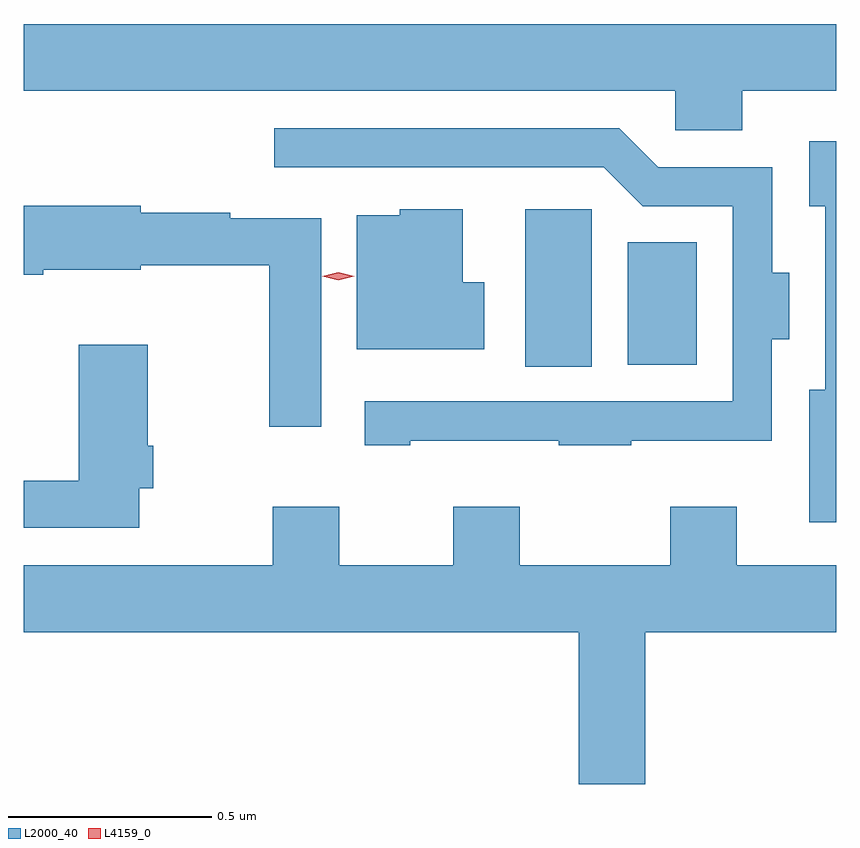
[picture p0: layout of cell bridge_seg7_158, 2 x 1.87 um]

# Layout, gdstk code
import gdstk
lib = gdstk.Library(unit=1e-6, precision=1e-09)
def R(c, l, rs):  # rectangles x0, y0, x1, y1
    for r in rs: c.add(gdstk.rectangle(r[:2], r[2:], *l))
def P(c, l, *ps):  # polygons
    for p in ps: c.add(gdstk.Polygon(p, *l))
L2000_40 = (2000, 40)
L4159_0 = (4159, 0)

bridge_seg7_158 = lib.new_cell('bridge_seg7_158')
R(bridge_seg7_158, L2000_40, [(584.456,1042.561,584.62,1042.948), (584.708,1042.565,584.878,1042.867)])
P(bridge_seg7_158, L2000_40, [(584.99,1043.24),(585.222,1043.24),(585.222,1043.404),(583.222,1043.404),(583.222,1043.24),(584.826,1043.24),(584.826,1043.142),(584.99,1043.142)],
  [(584.173,1042.379),(584.539,1042.379),(584.539,1042.368),(584.717,1042.368),(584.717,1042.379),(585.063,1042.379),(585.063,1042.628),(585.106,1042.628),(585.106,1042.792),(585.064,1042.792),(585.064,1043.052),(584.784,1043.052),(584.688,1043.148),(583.839,1043.148),(583.839,1043.052),(584.649,1043.052),(584.745,1042.956),(584.967,1042.956),(584.967,1042.476),(584.061,1042.476),(584.061,1042.368),(584.173,1042.368)],
  [(585.222,1043.116),(585.155,1043.116),(585.155,1042.955),(585.195,1042.955),(585.195,1042.504),(585.155,1042.504),(585.155,1042.178),(585.222,1042.178)],
  [(583.954,1042.926),(583.73,1042.926),(583.73,1042.939),(583.51,1042.939),(583.51,1042.957),(583.222,1042.957),(583.222,1042.787),(583.27,1042.787),(583.27,1042.799),(583.51,1042.799),(583.51,1042.81),(583.826,1042.81),(583.826,1042.413),(583.954,1042.413)],
  [(584.356,1042.768),(584.302,1042.768),(584.302,1042.948),(584.148,1042.948),(584.148,1042.933),(584.042,1042.933),(584.042,1042.604),(584.356,1042.604)],
  [(583.506,1042.262),(583.541,1042.262),(583.541,1042.366),(583.528,1042.366),(583.528,1042.615),(583.358,1042.615),(583.358,1042.28),(583.222,1042.28),(583.222,1042.164),(583.506,1042.164)],
  [(584.752,1041.908),(585.222,1041.908),(585.222,1042.072),(584.977,1042.072),(584.977,1042.216),(584.813,1042.216),(584.813,1042.072),(584.443,1042.072),(584.443,1042.216),(584.279,1042.216),(584.279,1042.072),(583.999,1042.072),(583.999,1042.216),(583.835,1042.216),(583.835,1042.072),(583.222,1042.072),(583.222,1041.908),(584.588,1041.908),(584.588,1041.534),(584.752,1041.534)])
P(bridge_seg7_158, L4159_0, [(583.996,1042.773),(583.957,1042.783),(583.956,1042.783),(583.957,1042.783),(583.996,1042.793),(584.035,1042.783),(584.035,1042.783),(584.035,1042.783)])

lib.write_gds('bridge_seg7_158.gds')
